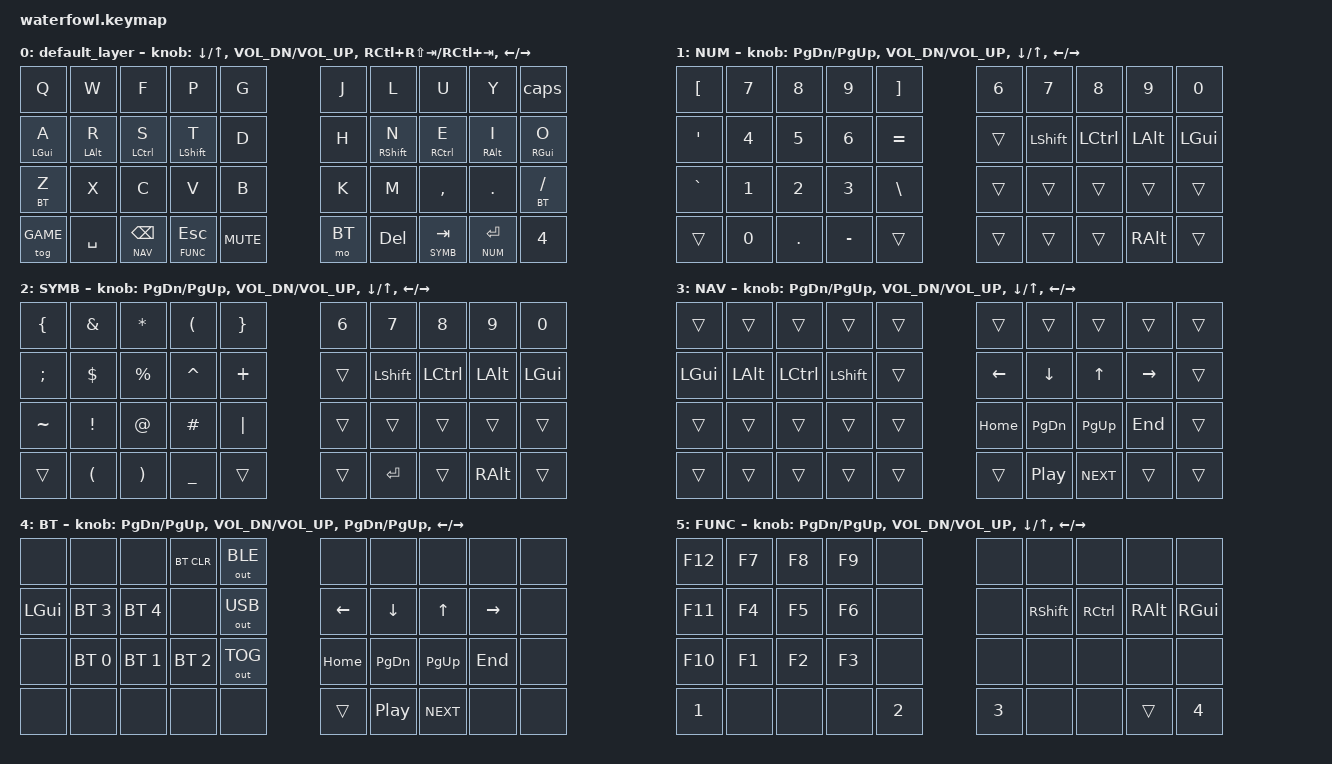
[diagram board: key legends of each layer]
/*
 * Copyright (c) 2022 The ZMK Contributors
 *
 * SPDX-License-Identifier: MIT
 */

#include <behaviors.dtsi>
#include <dt-bindings/zmk/keys.h>
#include <dt-bindings/zmk/bt.h>
#include <dt-bindings/zmk/outputs.h>

/* Layers */
#define COL  0
#define NUM  1
#define SYMB 2
#define NAV  3
#define BT   4
#define FUNC 5
#define GAME 6

&sk {
	quick-release;
};

/ {
	behaviors {
		hh: behavior_homerow_hold {
			compatible = "zmk,behavior-hold-tap";
			label = "HOMEROW_HOLD";
			#binding-cells = <2>;
			flavor = "tap-preferred";
			tapping-term-ms = <200>;
			bindings = <&kp>, <&kp>;
		};
		lh: behavior_layer_hold {
			compatible = "zmk,behavior-hold-tap";
			label = "LAYER_HOLD";
			#binding-cells = <2>;
			flavor = "hold-preferred";
			tapping-term-ms = <200>;
			bindings = <&mo>, <&kp>;
		};
		lhs: behavior_layer_hold_sticky {
			compatible = "zmk,behavior-hold-tap";
			label = "LAYER_HOLD_STICKY";
			#binding-cells = <2>;
			flavor = "hold-preferred";
			tapping-term-ms = <200>;
			bindings = <&mo>, <&sk>;
		};
		caps: caps_char_word {
			compatible = "zmk,behavior-tap-dance";
			label = "TAP_DANCE_0";
			#binding-cells = <0>;
			tapping-term-ms = <210>;
			bindings = <&kp SEMI>, <&caps_word>;
		};
		bhm: balanced_homerow_mods {
			compatible = "zmk,behavior-hold-tap";
      label = "BALANCED_HOMEROW_MODS";
      #binding-cells = <2>;
      tapping-term-ms = <210>;
      quick-tap-ms = <0>;
      flavor = "balanced";
      bindings = <&kp>, <&kp>;
		};
	};
	keymap {
		compatible = "zmk,keymap";

		default_layer {
/* L_DFT
 *
 * ,----------------------------------.                      ,----------------------------------.
 * |   Q  |   W  |   E  |   R  |   T  |                      |   Y  |   U  |   I  |   O  |   P  |
 * |------+------+------+------+------|                      |------+------+------+------+------|
 * |   A  |   S  |   D  |   F  |   G  |                      |   H  |   J  |   K  |   L  |   '  |
 * |------+------+------+------+------|  ,-----.    ,-----.  |------+------+------+------+------|
 * |   Z  |   X  |   C  |   V  |   B  |  | Num |    | Nav |  |   N  |   M  |   ,  |   .  |   /  |
 * `----------------------------------'  `-----'    `-----'  `----------------------------------'
 *          ,-----.   ,--------------------.            ,--------------------.   ,-----. 
 *          |  1  |   | ESC | SPACE | TAB  |            |  BS | ENTER | Caps |   |  4  |	
 *          `-----'   `--------------------'            `--------------------'   `-----'
 */
			bindings = <
			   &kp Q       &kp W       &kp F         &kp P           &kp G                    &kp J            &kp L             &kp U            &kp Y         &caps
         &bhm LGUI A &bhm LALT R &bhm LCTRL S  &bhm LSHIFT T   &kp D                    &kp H            &bhm RSHIFT N     &bhm RCTRL E     &bhm RALT I   &bhm RGUI O 
         &lt BT Z    &kp X       &kp C         &kp V           &kp B                    &kp K            &kp M             &kp COMMA        &kp DOT       &lt BT FSLH    
         &tog GAME   &kp SPACE   &lt NAV BSPC  &lt FUNC ESC    &kp C_MUTE               &mo BT           &kp DEL           &lt SYMB TAB     &lt NUM RET   &kp N4 
			>;

			sensor-bindings = <
				&inc_dec_kp DOWN UP
				&inc_dec_kp C_VOL_DN C_VOL_UP
				&inc_dec_kp RC(RS(TAB)) RC(TAB)
				&inc_dec_kp LEFT RIGHT
			>;
		};

		number_layer {
			label = "NUM";
/* 1 L_NUM
 *
 * ,----------------------------------.                      ,----------------------------------.
 * |  ⌘Q  |  ⌘W  |      |      |      |                      |      |      |      |      |      |
 * |------+------+------+------+------|                      |------+------+------+------+------|
 * |  ⌘A  |  ALT | CTRL | Shift|      |                      | Left | Down |  Up  | Right| CAPSW|
 * |------+------+------+------+------|  ,-----.    ,-----.  |------+------+------+------+------|
 * |  ⌘Z  |  ⌘X  |  ⌘C  |  ⌘V  |      |  |  2  |    |  3  |  | Home | PgDn | PgUp | End  | Ins  |
 * `----------------------------------'  `-----'    `-----'  `----------------------------------'
 *          ,-----.   ,--------------------.            ,--------------------.   ,-----. 
 *          |  1  |   |     |  (*)  |      |            |  BS  | ENTER | DEL |   |  4  |	
 *          `-----'   `--------------------'            `--------------------'   `-----'
 */
			bindings = <
         &kp LBKT     &kp N7       &kp N8       &kp N9       &kp RBKT                  &kp N6     &kp N7     &kp N8    &kp N9   &kp N0 
         &kp SQT      &kp N4       &kp N5       &kp N6       &kp EQUAL                 &trans     &kp LSHIFT &kp LCTRL &kp LALT &kp LGUI 
         &kp GRAVE    &kp N1       &kp N2       &kp N3       &kp BACKSLASH             &trans     &trans     &trans    &trans   &trans 
         &trans       &kp N0       &kp DOT      &kp MINUS    &trans                    &trans     &trans     &trans    &kp RALT &trans
			>;

			sensor-bindings = <
				&inc_dec_kp PAGE_DOWN PAGE_UP
				&inc_dec_kp C_VOL_DN C_VOL_UP
				&inc_dec_kp DOWN UP
				&inc_dec_kp LEFT RIGHT
			>;
		};

		symb_layer {
			label = "SYMB";
/* 2 SYMB -- not yet supported
 *
 * ,----------------------------------.                      ,----------------------------------.
 * |      |      |      |      |      |                      |      |      |      |      |      |
 * |------+------+------+------+------|                      |------+------+------+------+------|
 * |  CMD |  ALT | CTRL | Shift|      |                      | Left | Down |  Up  | Right| CAPS |
 * |------+------+------+------+------|  ,-----.    ,-----.  |------+------+------+------+------|
 * |      |      |      |      |      |  |  2  |    |  3  |  | Home | PgDn | PgUp | End  | Ins  |
 * `----------------------------------'  `-----'    `-----'  `----------------------------------'
 *          ,-----.   ,--------------------.            ,--------------------.   ,-----. 
 *          |  1  |   |     |       |  (*) |            |  BS  | ENTER | DEL |   |  4  |	
 *          `-----'   `--------------------'            `--------------------'   `-----'
 */
			bindings = <
         &kp LBRC     &kp AMPERSAND       &kp ASTERISK       &kp LPAR       &kp RBRC                 &kp N6     &kp N7     &kp N8    &kp N9   &kp N0 
         &kp SEMI     &kp DOLLAR          &kp PERCENT        &kp CARET      &kp PLUS                 &trans     &kp LSHIFT &kp LCTRL &kp LALT &kp LGUI 
         &kp TILDE    &kp EXCL            &kp AT             &kp POUND      &kp PIPE                 &trans     &trans     &trans    &trans   &trans 
         &trans       &kp LPAR            &kp RPAR           &kp UNDERSCORE &trans                   &trans     &kp RET    &trans    &kp RALT &trans
			>;

			sensor-bindings = <
				&inc_dec_kp PAGE_DOWN PAGE_UP
				&inc_dec_kp C_VOL_DN C_VOL_UP
				&inc_dec_kp DOWN UP
				&inc_dec_kp LEFT RIGHT
			>;
		};

		nav_layer {
			label = "NAV";
/* 3 NAV
 *
 * ,----------------------------------.                      ,----------------------------------.
 * |      |      |      |      | BTCLR|                      | BT 0 | BT 1 | BT 2 | BT 3 | BT 4 |
 * |------+------+------+------+------|                      |------+------+------+------+------|
 * |  CMD |  ALT | CTRL | Shift|      |                      | Prev | VoDn | VoUp | Next |      |
 * |------+------+------+------+------|  ,-----.    ,-----.  |------+------+------+------+------|
 * |      |      |      |      |      |  |  2  |    |  3  |  |      |      |      |      |      |
 * `----------------------------------'  `-----'    `-----'  `----------------------------------'
 *          ,-----.   ,--------------------.            ,--------------------.   ,-----. 
 *          |  1  |   | (*) |       |      |            | STOP | PLAY | MUTE |   |  4  |	
 *          `-----'   `--------------------'            `--------------------'   `-----'
 */
			bindings = <
         &trans       &trans            &trans           &trans          &trans                       &trans         &trans           &trans       &trans          &trans 
         &kp LGUI     &kp LALT          &kp LCTRL        &kp LSHIFT      &trans                       &kp LEFT_ARROW &kp DOWN_ARROW   &kp UP_ARROW &kp RIGHT_ARROW &trans 
         &trans       &trans            &trans           &trans          &trans                       &kp HOME       &kp PG_DN        &kp PG_UP    &kp END         &trans 
         &trans       &trans            &trans           &trans          &trans                       &trans         &kp C_PLAY_PAUSE &kp C_NEXT   &trans          &trans
			>;

			sensor-bindings = <
				&inc_dec_kp PAGE_DOWN PAGE_UP
				&inc_dec_kp C_VOL_DN C_VOL_UP
				&inc_dec_kp DOWN UP
				&inc_dec_kp LEFT RIGHT
			>;
		};

		bt_layer {
			label = "BT";
/* 4 BT
 *
 * ,----------------------------------.                      ,----------------------------------.
 * |  [   |  7   |  8   |  9   |  ]   |                      |      |      |      |      |      |
 * |------+------+------+------+------|                      |------+------+------+------+------|
 * |  ;   |  4   |  5   |  6   |  =   |                      | Shift| CTRL | ALT  | CMD  |      |
 * |------+------+------+------+------|  ,-----.    ,-----.  |------+------+------+------+------|
 * |  `   |  1   |  2   |  3   |  \   |  |  2  |    |  3  |  |      |      |      |      |      |
 * `----------------------------------'  `-----'    `-----'  `----------------------------------'
 *          ,-----.   ,--------------------.            ,--------------------.   ,-----. 
 *          |  1  |   |  .  |   0   |  -   |            |      | (*)  |      |   |  4  |	
 *          `-----'   `--------------------'            `--------------------'   `-----'
 */
			bindings = <
         &none      &none             &none           &bt BT_CLR      &out OUT_BLE                     &none          &none               &none        &none           &none
         &kp LGUI   &bt BT_SEL 3      &bt BT_SEL 4    &none           &out OUT_USB                     &kp LEFT_ARROW &kp DOWN_ARROW      &kp UP_ARROW &kp RIGHT_ARROW &none 
         &none      &bt BT_SEL 0      &bt BT_SEL 1    &bt BT_SEL 2    &out OUT_TOG                     &kp HOME       &kp PG_DN           &kp PG_UP    &kp END         &none 
         &none      &none             &none           &none           &none                            &trans         &kp C_PLAY_PAUSE    &kp C_NEXT   &none           &none
			>;

			sensor-bindings = <
				&inc_dec_kp PAGE_DOWN PAGE_UP
				&inc_dec_kp C_VOL_DN C_VOL_UP
				&inc_dec_kp PG_DN PG_UP
				&inc_dec_kp LEFT RIGHT
			>;
		};

		func_layer {
			label = "FUNC";
/* 5 FUNC
 *
 * ,----------------------------------.                      ,----------------------------------.
 * |  F12 |  F7  |  F8  |  F9  |      |                      |      |      |      |      |      |
 * |------+------+------+------+------|                      |------+------+------+------+------|
 * |  F11 |  F4  |  F5  |  F6  |      |                      | Shift| CTRL | ALT  | CMD  |      |
 * |------+------+------+------+------|  ,-----.    ,-----.  |------+------+------+------+------|
 * |  F10 |  F1  |  F2  |  F3  |      |  |  2  |    |  3  |  |      |      |      |      |      |
 * `----------------------------------'  `-----'    `-----'  `----------------------------------'
 *          ,-----.   ,--------------------.            ,--------------------.   ,-----. 
 *          |  1  |   |     |       |      |            |      |       | (*) |   |  4  |	
 *          `-----'   `--------------------'            `--------------------'   `-----'
 */
			bindings = <
	&kp F12	&kp F7	&kp F8	&kp F9	&none		           &none		&none		  &none		  &none		  &none
	&kp F11	&kp F4	&kp F5	&kp F6	&none		           &none    &kp RSHFT	&kp RCTRL	&kp RALT	&kp RGUI	
	&kp F10	&kp F1	&kp F2	&kp F3	&none		           &none		&none		  &none		  &none		  &none
	&kp N1	&none	  &none	  &none	  &kp N2		         &kp N3		&none		  &none		  &trans	  &kp N4
			>;

			sensor-bindings = <
				&inc_dec_kp PAGE_DOWN PAGE_UP
				&inc_dec_kp C_VOL_DN C_VOL_UP
				&inc_dec_kp DOWN UP
				&inc_dec_kp LEFT RIGHT
			>;
		};

	};
};
/* vim:ft=dts:ts=4:sw=4:noet
*/
